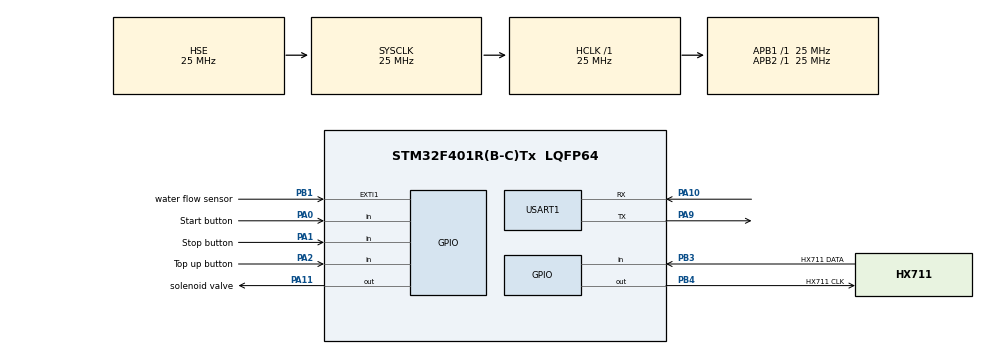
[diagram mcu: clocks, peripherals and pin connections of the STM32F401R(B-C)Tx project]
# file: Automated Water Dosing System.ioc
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Mcu.Family=STM32F4
Mcu.Name=STM32F401R(B-C)Tx
Mcu.Package=LQFP64
NVIC.EXTI1_IRQn=true\:0\:0\:false\:false\:true\:true\:true\:true
NVIC.PriorityGroup=NVIC_PRIORITYGROUP_4
PA0-WKUP.GPIO_Label=Start button
PA0-WKUP.GPIO_PuPd=GPIO_PULLUP
PA0-WKUP.Signal=GPIO_Input
PA1.GPIO_Label=Stop button 
PA1.GPIO_PuPd=GPIO_PULLUP
PA1.Signal=GPIO_Input
PA10.Mode=Asynchronous
PA10.Signal=USART1_RX
PA11.GPIO_Label=solenoid valve
PA11.Signal=GPIO_Output
PA2.GPIO_Label=Top up button
PA2.GPIO_PuPd=GPIO_PULLUP
PA2.Signal=GPIO_Input
PA9.Mode=Asynchronous
PA9.Signal=USART1_TX
PB1.GPIO_Label=water flow sensor
PB1.GPIO_ModeDefaultEXTI=GPIO_MODE_IT_RISING
PB1.Signal=GPXTI1
PB3.GPIO_Label=HX711 DATA
PB3.Signal=GPIO_Input
PB4.GPIO_Label=HX711 CLK
PB4.Signal=GPIO_Output
PH0\ -\ OSC_IN.Mode=HSE-External-Oscillator
PH0\ -\ OSC_IN.Signal=RCC_OSC_IN
PH1\ -\ OSC_OUT.Mode=HSE-External-Oscillator
PH1\ -\ OSC_OUT.Signal=RCC_OSC_OUT
ProjectManager.HeapSize=0x200
ProjectManager.StackSize=0x400
ProjectManager.TargetToolchain=STM32CubeIDE
RCC.48MHZClocksFreq_Value=75000000
RCC.AHBFreq_Value=25000000
RCC.APB1Freq_Value=25000000
RCC.APB1TimFreq_Value=25000000
RCC.APB2Freq_Value=25000000
RCC.APB2TimFreq_Value=25000000
RCC.CortexFreq_Value=25000000
RCC.HCLKFreq_Value=25000000
RCC.HSE_VALUE=25000000
RCC.HSI_VALUE=16000000
RCC.LSE_VALUE=32768
RCC.PLLSourceVirtual=RCC_PLLSOURCE_HSE
RCC.SYSCLKFreq_VALUE=25000000
RCC.SYSCLKSource=RCC_SYSCLKSOURCE_HSE
RCC.VCOOutputFreq_Value=300000000
USART1.VirtualMode=VM_ASYNC
board=custom

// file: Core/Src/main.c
/* USER CODE BEGIN Header */
/**
 ******************************************************************************
 * @file           : main.c
 * @brief          : Main program body
 ******************************************************************************
 * @attention
 *
 * Copyright (c) 2025 STMicroelectronics.
 * All rights reserved.
 *
 * This software is licensed under terms that can be found in the LICENSE file
 * in the root directory of this software component.
 * If no LICENSE file comes with this software, it is provided AS-IS.
 *
 ******************************************************************************
 */
/* USER CODE END Header */
#include "main.h"
#include "usart.h"
#include "gpio.h"

/* USER CODE BEGIN Includes */
#include "hx711.h"
#include "stdio.h"
#include "stdint.h"
#include "inttypes.h"

/* USER CODE END Includes */

/* USER CODE BEGIN PTD */
extern UART_HandleTypeDef huart1;
/* USER CODE END PTD */

/* USER CODE BEGIN PD */
#define water_ratio        2

#define pulses_per_liter   350
#define ml_per_liter       1000
/* USER CODE END PD */

void SystemClock_Config(void);
/* USER CODE BEGIN PFP */
int __io_putchar(int ch);
void start_dosing(void);
void stop_dosing(void);
void top_up_dosing(void);

uint16_t calculate_desired_water_amount(uint16_t ingredient_grams);
uint16_t map_ml_to_pulses(uint16_t desired_ml);
/* USER CODE END PFP */

/* USER CODE BEGIN 0 */
uint16_t pulseCount ;
HX711_pin_Config my_hx711 ;
/* USER CODE END 0 */

int main(void)
{

	/* MCU Configuration--------------------------------------------------------*/

	/* Reset of all peripherals, Initializes the Flash interface and the Systick. */
	HAL_Init();

	/* Configure the system clock */
	SystemClock_Config();

	/* Initialize all configured peripherals */
	MX_GPIO_Init();
	MX_USART1_UART_Init();
	/* USER CODE BEGIN 2 */
	HAL_GPIO_WritePin(solenoid_valve_GPIO_Port, solenoid_valve_Pin, GPIO_PIN_RESET);

	my_hx711.ClockPort = HX711_CLK_GPIO_Port;
	my_hx711.ClockPin = HX711_CLK_Pin ;
	my_hx711.DataPort = HX711_DATA_GPIO_Port ;
	my_hx711.DataPin = HX711_DATA_Pin ;

//	int32_t reading = 0 ;
	uint16_t grams = 0 ;
	uint16_t water_ml = 0 ;
	uint16_t desired_pulses = 0 ;
	uint8_t flag = 1 ;

	uint8_t last_stop_state = 1 ;
	uint8_t current_stop_state = 0 ;

	uint8_t last_start_state = 1 ;
	uint8_t	current_start_state = 0;

	uint8_t last_topup_state = 1 ;
	uint8_t	current_topup_state = 0;

	/* USER CODE END 2 */

	/* Infinite loop */
	while (1)
	{
//		printf("65\n");
		current_stop_state  =  HAL_GPIO_ReadPin(Stop_button_GPIO_Port, Stop_button_Pin);
		current_start_state = HAL_GPIO_ReadPin(Start_button_GPIO_Port, Start_button_Pin) ;
		current_topup_state = HAL_GPIO_ReadPin(Top_up_button_GPIO_Port, Top_up_button_Pin) ;
		/* USER CODE BEGIN 3 */
		if (current_stop_state == 0 && last_stop_state == 1 ){
			stop_dosing();
		}
		else if (current_start_state == 0 && last_start_state == 1) {
			pulseCount = 0 ;
			grams = HX711_balance_waight(&my_hx711);
		    printf("grams = %" PRId16 "\n", grams);
			water_ml = calculate_desired_water_amount(grams);
		     printf("water_ml = %" PRId16 "\n", water_ml);

			desired_pulses = map_ml_to_pulses(water_ml);
			printf("desired_pulses = %" PRId16 "\n", desired_pulses);
			start_dosing();
		}
		else if((current_topup_state == 0 && last_topup_state == 1)&& (flag == 1 )){
			if(HAL_GPIO_ReadPin(Top_up_button_GPIO_Port, Top_up_button_Pin) == GPIO_PIN_RESET){
			top_up_dosing();
			flag = 0;
			}
		}
		else if ((current_topup_state == 1 && last_topup_state == 1)&& flag == 0){
			if ((HAL_GPIO_ReadPin(Top_up_button_GPIO_Port, Top_up_button_Pin) == GPIO_PIN_SET)&& flag == 0){
			stop_dosing();
			flag = 1 ;
			}
		}

		if (pulseCount > desired_pulses){
			stop_dosing();
			pulseCount = 0 ;
		}

		last_stop_state = current_stop_state;
		last_start_state = current_start_state;
		last_topup_state = current_topup_state;

	}
	/* USER CODE END 3 */
}

void SystemClock_Config(void)
{
	RCC_OscInitTypeDef RCC_OscInitStruct = {0};
	RCC_ClkInitTypeDef RCC_ClkInitStruct = {0};

	/** Configure the main internal regulator output voltage
	 */
	__HAL_RCC_PWR_CLK_ENABLE();
	__HAL_PWR_VOLTAGESCALING_CONFIG(PWR_REGULATOR_VOLTAGE_SCALE2);

	/** Initializes the RCC Oscillators according to the specified parameters
	 * in the RCC_OscInitTypeDef structure.
	 */
	RCC_OscInitStruct.OscillatorType = RCC_OSCILLATORTYPE_HSE;
	RCC_OscInitStruct.HSEState = RCC_HSE_ON;
	RCC_OscInitStruct.PLL.PLLState = RCC_PLL_NONE;
	if (HAL_RCC_OscConfig(&RCC_OscInitStruct) != HAL_OK)
	{
		Error_Handler();
	}

	/** Initializes the CPU, AHB and APB buses clocks
	 */
	RCC_ClkInitStruct.ClockType = RCC_CLOCKTYPE_HCLK|RCC_CLOCKTYPE_SYSCLK
			|RCC_CLOCKTYPE_PCLK1|RCC_CLOCKTYPE_PCLK2;
	RCC_ClkInitStruct.SYSCLKSource = RCC_SYSCLKSOURCE_HSE;
	RCC_ClkInitStruct.AHBCLKDivider = RCC_SYSCLK_DIV1;
	RCC_ClkInitStruct.APB1CLKDivider = RCC_HCLK_DIV1;
	RCC_ClkInitStruct.APB2CLKDivider = RCC_HCLK_DIV1;

	if (HAL_RCC_ClockConfig(&RCC_ClkInitStruct, FLASH_LATENCY_0) != HAL_OK)
	{
		Error_Handler();
	}
}

/* USER CODE BEGIN 4 */
int __io_putchar(int ch) {
	HAL_UART_Transmit(&huart1, (uint8_t *)&ch, 1, HAL_MAX_DELAY);
	return ch;
}

void HAL_GPIO_EXTI_Callback(uint16_t GPIO_Pin)
{
	if (GPIO_Pin == water_flow_sensor_Pin)
	{
		pulseCount ++ ;
		printf("%" PRId16 "\n", pulseCount);
	}
}

void start_dosing(void){
	HAL_GPIO_WritePin(solenoid_valve_GPIO_Port, solenoid_valve_Pin, GPIO_PIN_SET);
	printf("Start\n");
}
void stop_dosing(void){
	HAL_Delay(500);
	HAL_GPIO_WritePin(solenoid_valve_GPIO_Port, solenoid_valve_Pin, GPIO_PIN_RESET);
	HAL_Delay(500);

	printf("Stop\n");
}
void top_up_dosing(void){
	HAL_GPIO_WritePin(solenoid_valve_GPIO_Port, solenoid_valve_Pin, GPIO_PIN_SET);
//	HAL_Delay(1000);
	printf("Srsob mya\n");
}

uint16_t calculate_desired_water_amount(uint16_t ingredient_grams){
	return (ingredient_grams * water_ratio);
}

uint16_t map_ml_to_pulses(uint16_t desired_ml)
{

    uint16_t pulses = (uint16_t)((desired_ml * pulses_per_liter) / ml_per_liter);
    return pulses;
}

/* USER CODE END 4 */

void Error_Handler(void)
{
	__disable_irq();
	while (1)
	{
	}
}
